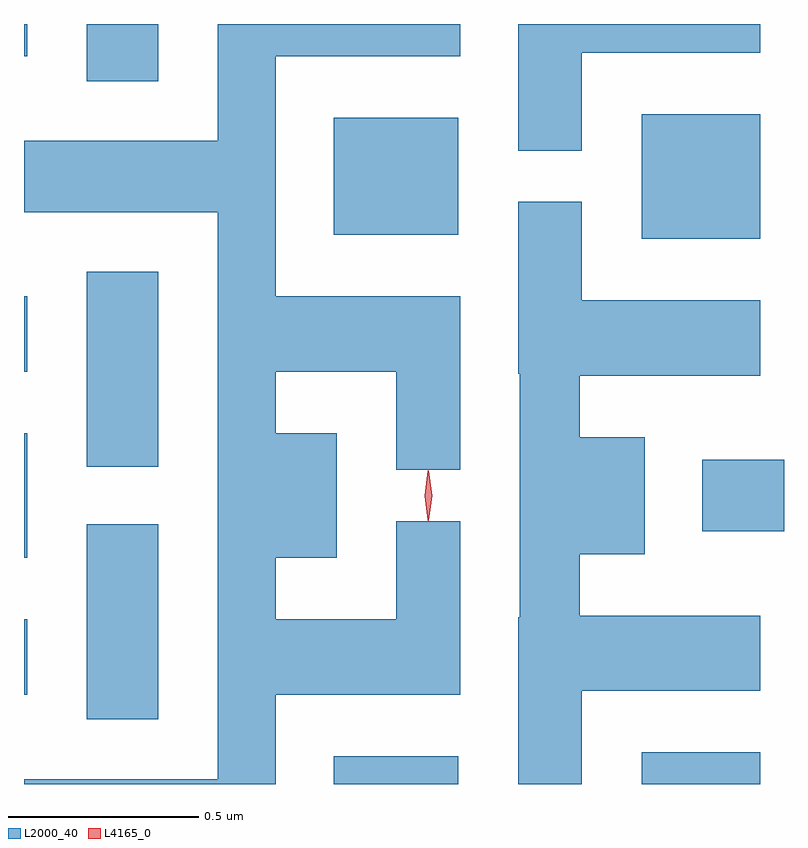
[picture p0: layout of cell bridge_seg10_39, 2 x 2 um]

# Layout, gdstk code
import gdstk
lib = gdstk.Library(unit=1e-6, precision=1e-09)
def R(c, l, rs):  # rectangles x0, y0, x1, y1
    for r in rs: c.add(gdstk.rectangle(r[:2], r[2:], *l))
def P(c, l, *ps):  # polygons
    for p in ps: c.add(gdstk.Polygon(p, *l))
L2000_40 = (2000, 40)
L4165_0 = (4165, 0)

bridge_seg10_39 = lib.new_cell('bridge_seg10_39')
R(bridge_seg10_39, L2000_40, [(1749.886,2163.371,1750.214,2163.444), (1750.696,2163.371,1751.009,2163.454), (1749.236,2163.541,1749.424,2164.054), (1749.071,2163.606,1749.079,2163.804), (1749.071,2163.966,1749.079,2164.294), (1750.856,2164.036,1751.071,2164.224), (1749.236,2164.206,1749.424,2164.719), (1749.071,2164.456,1749.079,2164.654), (1750.696,2164.806,1751.009,2165.134), (1749.886,2164.816,1750.214,2165.124), (1749.236,2165.221,1749.424,2165.371), (1749.071,2165.286,1749.079,2165.371)])
P(bridge_seg10_39, L2000_40, [(1749.734,2163.606),(1750.219,2163.606),(1750.219,2164.063),(1750.051,2164.063),(1750.051,2163.804),(1749.734,2163.804),(1749.734,2163.966),(1749.894,2163.966),(1749.894,2164.294),(1749.734,2164.294),(1749.734,2164.456),(1750.051,2164.456),(1750.051,2164.198),(1750.219,2164.198),(1750.219,2164.654),(1749.734,2164.654),(1749.734,2165.286),(1750.219,2165.286),(1750.219,2165.371),(1749.581,2165.371),(1749.581,2165.064),(1749.071,2165.064),(1749.071,2164.876),(1749.581,2164.876),(1749.581,2163.384),(1749.071,2163.384),(1749.071,2163.371),(1749.734,2163.371)],
  [(1750.539,2165.296),(1751.009,2165.296),(1751.009,2165.371),(1750.371,2165.371),(1750.371,2165.038),(1750.539,2165.038)],
  [(1750.539,2163.616),(1751.009,2163.616),(1751.009,2163.814),(1750.534,2163.814),(1750.534,2163.976),(1750.704,2163.976),(1750.704,2164.284),(1750.534,2164.284),(1750.534,2164.446),(1751.009,2164.446),(1751.009,2164.644),(1750.539,2164.644),(1750.539,2164.903),(1750.371,2164.903),(1750.371,2164.45),(1750.376,2164.45),(1750.376,2163.81),(1750.371,2163.81),(1750.371,2163.371),(1750.539,2163.371)])
P(bridge_seg10_39, L4165_0, [(1750.135,2164.064),(1750.134,2164.065),(1750.125,2164.13),(1750.134,2164.195),(1750.135,2164.196),(1750.136,2164.195),(1750.145,2164.13),(1750.136,2164.065)])

lib.write_gds('bridge_seg10_39.gds')
